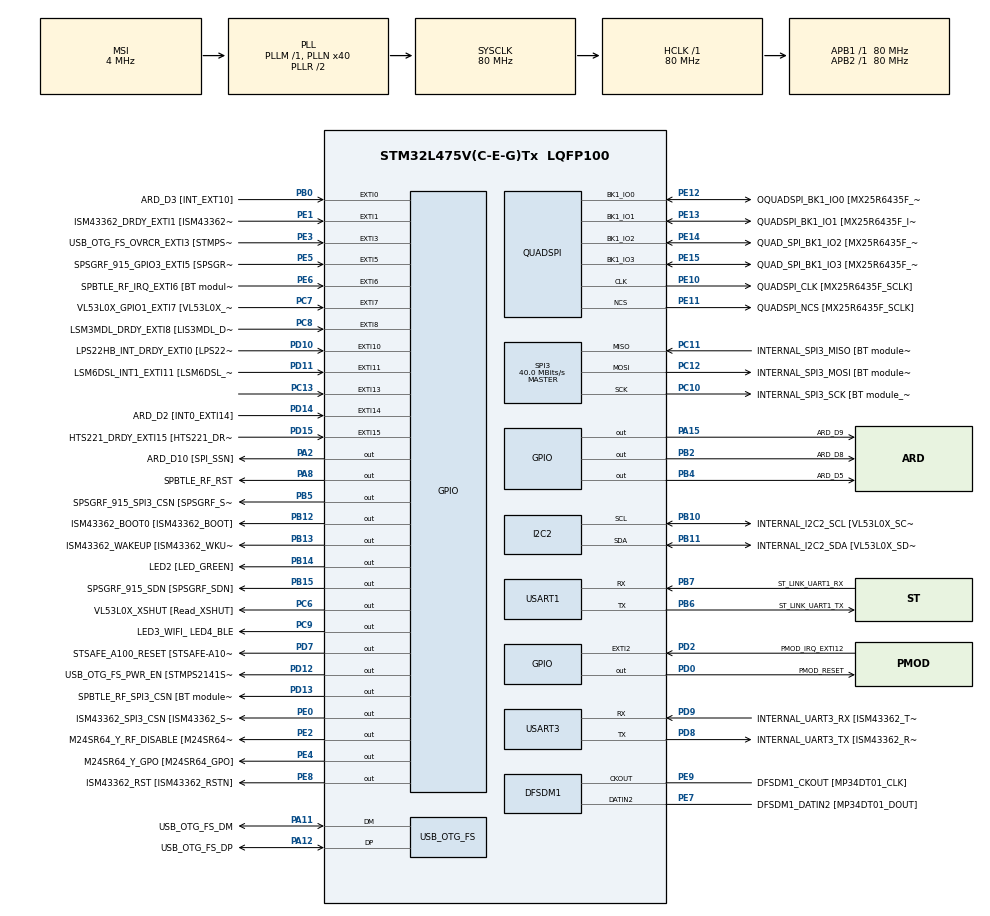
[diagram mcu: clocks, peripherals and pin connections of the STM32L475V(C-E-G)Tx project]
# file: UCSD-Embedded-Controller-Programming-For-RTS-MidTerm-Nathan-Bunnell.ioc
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PD12.GPIO_Label=USB_OTG_FS_PWR_EN [STMPS2141STR_EN]
SPI3.Direction=SPI_DIRECTION_2LINES
SPI3.VirtualType=VM_MASTER
QUADSPI.ClockPrescaler=2
PB10.Mode=I2C
PC12.Signal=SPI3_MOSI
PB14.GPIO_Label=LED2 [LED_GREEN]
PC6.GPIO_Label=VL53L0X_XSHUT [Read_XSHUT]
PA6.GPIO_Label=ARD_D12 [SPI1_MISO]
PB6.GPIO_Label=ST_LINK_UART1_TX
PA15\ (JTDI).Signal=GPIO_Output
PC15-OSC32_OUT\ (PC15).Mode=LSE-External-Oscillator
PB13.Signal=GPIO_Output
PD6.GPIO_Label=PMOD_UART2_RX
PE6.GPIO_Label=SPBTLE_RF_IRQ_EXTI6 [BT module_SPI_IRQ]
RCC.SYSCLKSource=RCC_SYSCLKSOURCE_PLLCLK
PC14-OSC32_IN\ (PC14).Mode=LSE-External-Oscillator
SH.ADCx_IN16.0=ADC1_IN16
USART3.VirtualMode-Asynchronous=VM_ASYNC
PA14\ (JTCK-SWCLK).Signal=SYS_JTCK-SWCLK
PD4.Signal=USART2_RTS
RCC.APB2TimFreq_Value=80000000
PB6.Signal=USART1_TX
PC7.Signal=GPXTI7
PB6.Mode=Asynchronous
PC3.Signal=ADCx_IN4
PD0.Signal=GPIO_Output
PD8.Signal=USART3_TX
PE5.Signal=GPXTI5
PE1.Signal=GPXTI1
QUADSPI.FlashSize=23
NVIC.EXTI15_10_IRQn=true\:0\:0\:false\:false\:true\:true\:true
PB2.Signal=GPIO_Output
PD1.GPIO_Label=PMOD_SPI2_SCK
PB12.GPIO_Label=ISM43362_BOOT0 [ISM43362_BOOT]
PC4.GPIO_Label=ARD_A1 [ADC]
PE9.Signal=S_CKOUTDFSDM1
PB1.GPIO_Label=ARD_D6 [ADC1_IN6]
PE4.GPIO_Label=M24SR64_Y_GPO [M24SR64_GPO]
PE2.Signal=GPIO_Output
PA8.Signal=GPIO_Output
PE13.Mode=Single Bank
PE10.Signal=QUADSPI_CLK
PA0.Signal=UART4_TX
Mcu.Package=LQFP100
PB9.Signal=I2C1_SDA
PB1.Signal=ADCx_IN16
SPI3.Mode=SPI_MODE_MASTER
SH.ADCx_IN14.0=ADC1_IN14
PD12.Signal=GPIO_Output
PA10.Signal=USB_OTG_FS_ID
PE12.GPIO_Label=OQUADSPI_BK1_IO0 [MX25R6435F_IO0]
PC11.Mode=Full_Duplex_Master
SH.ADCx_IN9.0=ADC1_IN9
RCC.APB1TimFreq_Value=80000000
PA13\ (JTMS-SWDIO).Signal=SYS_JTMS-SWDIO
NVIC.USART1_IRQn=true\:0\:0\:false\:false\:true\:true\:true
PE10.GPIO_Label=QUADSPI_CLK [MX25R6435F_SCLK]
PA4.GPIO_Label=ARD_D7
PD15.Signal=GPXTI15
PE12.Mode=Single Bank
PD9.GPIO_Label=INTERNAL_UART3_RX [ISM43362_TX]
PA9.GPIO_Label=USB_OTG_FS_VBUS [STMPS2141STR_OUT]
PC13.Signal=GPXTI13
PD3.Signal=USART2_CTS
PC6.Signal=GPIO_Output
PE10.Mode=Single Bank
PC2.Signal=ADCx_IN3
PB11.GPIO_Label=INTERNAL_I2C2_SDA [VL53L0X_SDA]
PD7.Signal=GPIO_Output
PD1.Signal=SPI2_SCK
PA11.GPIO_Label=USB_OTG_FS_DM
PC0.Signal=ADCx_IN1
PD10.Signal=GPXTI10
PB8.GPIO_Label=ARD_D15 [I2C1_SCL]
PA8.GPIO_Label=SPBTLE_RF_RST
PB11.Mode=I2C
PE8.GPIO_Label=ISM43362_RST [ISM43362_RSTN]
PA9.Signal=USB_OTG_FS_VBUS
PE9.GPIO_Label=DFSDM1_CKOUT [MP34DT01_CLK]
PD8.Mode=Asynchronous
PB10.Signal=I2C2_SCL
PB14.Signal=GPIO_Output
PA5.Signal=SPI1_SCK
PC12.Mode=Full_Duplex_Master
PE1.GPIO_Label=ISM43362_DRDY_EXTI1 [ISM43362_DATARDY]
PE14.Signal=QUADSPI_BK1_IO2
PE15.Signal=QUADSPI_BK1_IO3
PB15.GPIO_Label=SPSGRF_915_SDN [SPSGRF_SDN]
PE8.Signal=GPIO_Output
PA1.GPIO_Label=ARD_D0 [UART4_RX]
SH.ADCx_IN4.0=ADC1_IN4
QUADSPI.FifoThreshold=4
PC7.GPIO_Label=VL53L0X_GPIO1_EXTI7 [VL53L0X_GPIO1]
PA13\ (JTMS-SWDIO).Mode=Serial_Wire
PA4.Signal=ADCx_IN9
PB5.Signal=GPIO_Output
PE13.GPIO_Label=QUADSPI_BK1_IO1 [MX25R6435F_IO1]
PA5.GPIO_Label=ARD_D13 [SPI1_SCK]
PD11.Signal=GPXTI11
PE5.GPIO_Label=SPSGRF_915_GPIO3_EXTI5 [SPSGRF_GPIO_3]
PC12.GPIO_Label=INTERNAL_SPI3_MOSI [BT module_SPI_MOSI] [ISM43362_MOSI]
PA11.Signal=USB_OTG_FS_DM
ProjectManager.HeapSize=0x200
NVIC.PriorityGroup=NVIC_PRIORITYGROUP_4
PE3.Signal=GPXTI3
PC3.GPIO_Label=ARD_A2 [ADC]
PB4\ (NJTRST).GPIO_Label=ARD_D5
PD2.Signal=GPXTI2
PB0.Signal=GPXTI0
PC1.Signal=ADCx_IN2
PD2.GPIO_Label=PMOD_IRQ_EXTI12
PE15.Mode=Single Bank
Mcu.Family=STM32L4
RCC.CortexFreq_Value=80000000
PE11.GPIO_Label=QUADSPI_NCS [MX25R6435F_SCLK]
SH.ADCx_IN2.0=ADC1_IN2
PC10.Signal=SPI3_SCK
I2C2.Timing=0x10909CEC
PA0.GPIO_Label=ARD_D1 [UART4_TX]
PC0.GPIO_Label=ARD_A5 [ADC]
PD0.GPIO_Label=PMOD_RESET
PA11.Mode=Device_Only
PB0.GPIO_Label=ARD_D3 [INT_EXT10]
PB13.GPIO_Label=ISM43362_WAKEUP [ISM43362_WKUP]
PB11.Signal=I2C2_SDA
PB15.Signal=GPIO_Output
PD9.Mode=Asynchronous
ProjectManager.StackSize=0x400
PB3\ (JTDO-TRACESWO).Signal=SYS_JTDO-SWO
PD13.Signal=GPIO_Output
PA12.Signal=USB_OTG_FS_DP
PE11.Mode=Single Bank
PD11.GPIO_Label=LSM6DSL_INT1_EXTI11 [LSM6DSL_INT1]
RCC.HCLKFreq_Value=80000000
SH.ADCx_IN3.0=ADC1_IN3
PB5.PinState=GPIO_PIN_SET
RCC.AHBFreq_Value=80000000
RCC.HSE_VALUE=8000000
PE13.Signal=QUADSPI_BK1_IO1
PC11.GPIO_Label=INTERNAL_SPI3_MISO [BT module_SPI_MISO] [ISM43362_MISO]
PA10.GPIO_Label=USB_OTG_FS_ID
PB7.Signal=USART1_RX
PE4.Signal=GPIO_Output
QUADSPI.SampleShifting=QSPI_SAMPLE_SHIFTING_HALFCYCLE
PD7.GPIO_Label=STSAFE_A100_RESET [STSAFE-A100_RESET]
PB7.GPIO_Label=ST_LINK_UART1_RX
PD13.GPIO_Label=SPBTLE_RF_SPI3_CSN [BT module_SPI_CS]
PA6.Signal=SPI1_MISO
PD5.GPIO_Label=PMOD_UART2_TX
PA2.GPIO_Label=ARD_D10 [SPI_SSN]
USB_OTG_FS.VirtualMode=Device_Only
PE0.GPIO_Label=ISM43362_SPI3_CSN [ISM43362_SSN]
SH.ADCx_IN1.0=ADC1_IN1
PB5.GPIO_Label=SPSGRF_915_SPI3_CSN [SPSGRF_SPI_CS]
PC5.Signal=ADCx_IN14
PD3.GPIO_Label=PMOD_UART2_CTS
PE7.Signal=S_DATAIN2DFSDM1
PD6.Signal=USART2_RX
PE2.GPIO_Label=M24SR64_Y_RF_DISABLE [M24SR64_RFDIS]
PC2.GPIO_Label=ARD_A3 [ADC]
RCC.PLLSAI1N=24
PA3.Signal=S_TIM2_CH4
RCC.MSI_VALUE=4000000
PA14\ (JTCK-SWCLK).Mode=Serial_Wire
SH.ADCx_IN13.0=ADC1_IN13
PD15.GPIO_Label=HTS221_DRDY_EXTI15 [HTS221_DRDY]
PB9.GPIO_Label=ARD_D14 [I2C1_SDA]
PC10.GPIO_Label=INTERNAL_SPI3_SCK [BT module_SPI_SCLK] [ISM43362_SCK]
PC9.GPIO_Label=LED3_WIFI_ LED4_BLE
PC11.Signal=SPI3_MISO
PC8.Signal=GPXTI8
PC4.Signal=ADCx_IN13
PC10.Mode=Full_Duplex_Master
SH.S_DATAIN2DFSDM1.0=DFSDM1_DATIN2,PDM_SPI_Input_from_ch12_and_Internal_Clock
PE14.GPIO_Label=QUAD_SPI_BK1_IO2 [MX25R6435F_IO2]
PC15-OSC32_OUT\ (PC15).Signal=RCC_OSC32_OUT
PD9.Signal=USART3_RX
PD5.Signal=USART2_TX
PA14\ (JTCK-SWCLK).GPIO_Label=SYS_JTCK_SWCLK
PB3\ (JTDO-TRACESWO).GPIO_Label=SYS_JTD0_SWO
PA12.GPIO_Label=USB_OTG_FS_DP
PD8.GPIO_Label=INTERNAL_UART3_TX [ISM43362_RX]
PC8.GPIO_Label=LSM3MDL_DRDY_EXTI8 [LIS3MDL_DRDY]
USART1.VirtualMode-Asynchronous=VM_ASYNC
PE0.PinState=GPIO_PIN_SET
PE15.GPIO_Label=QUAD_SPI_BK1_IO3 [MX25R6435F_IO3]
ProjectManager.TargetToolchain=STM32CubeIDE
PB10.GPIO_Label=INTERNAL_I2C2_SCL [VL53L0X_SCL]
RCC.USBFreq_Value=48000000
PD10.GPIO_Label=LPS22HB_INT_DRDY_EXTI0 [LPS22HB_INT_DRDY] 
PE11.Signal=QUADSPI_NCS
PA1.Signal=UART4_RX
board=B-L475E-IOT01A1
RCC.VCOOutputFreq_Value=160000000
RCC.APB2Freq_Value=80000000
SPI3.CalculateBaudRate=40.0 MBits/s
PA13\ (JTMS-SWDIO).GPIO_Label=SYS_JTMS_SWDIO
PD4.GPIO_Label=PMOD_UART2_RTS
PE14.Mode=Single Bank
SH.S_CKOUTDFSDM1.0=DFSDM1_CKOUT,CKOUT
SH.S_CKOUTDFSDM1.1=DFSDM1_CKOUT,PDM_SPI_Input_from_ch12_and_Internal_Clock
RCC.ADCFreq_Value=48000000
PC1.GPIO_Label=ARD_A4 [ADC]
PD14.GPIO_Label=ARD_D2 [INT0_EXTI14]
PE6.Signal=GPXTI6
PA15\ (JTDI).GPIO_Label=ARD_D9
Mcu.Name=STM32L475V(C-E-G)Tx
PE0.Signal=GPIO_Output
PE7.GPIO_Label=DFSDM1_DATIN2 [MP34DT01_DOUT]
PE12.Signal=QUADSPI_BK1_IO0
PA2.Signal=GPIO_Output
PD14.Signal=GPXTI14
RCC.SYSCLKFreq_VALUE=80000000
PA7.GPIO_Label=ARD_D11 [SPI1_MOSI]
PA12.Mode=Device_Only
PC5.GPIO_Label=ARD_A0 [ADC]
PC14-OSC32_IN\ (PC14).Signal=RCC_OSC32_IN
PB7.Mode=Asynchronous
NVIC.EXTI9_5_IRQn=true\:0\:0\:false\:false\:true\:true\:true
PB2.GPIO_Label=ARD_D8
SH.S_TIM2_CH4.0=TIM2_CH4
RCC.HSI_VALUE=16000000
RCC.PLLN=40
PB8.Signal=I2C1_SCL
PE3.GPIO_Label=USB_OTG_FS_OVRCR_EXTI3 [STMPS2141STR_FAULT]
PC9.Signal=GPIO_Output
PD13.PinState=GPIO_PIN_SET
RCC.APB1Freq_Value=80000000
PB12.Signal=GPIO_Output
PA3.GPIO_Label=ARD_D4
PA7.Signal=SPI1_MOSI
PB4\ (NJTRST).Signal=GPIO_Output

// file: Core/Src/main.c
/* USER CODE BEGIN Header */
/**
  ******************************************************************************
  * @file           : main.c
  * @brief          : Main program body
  ******************************************************************************
  * @attention
  *
  * <h2><center>&copy; Copyright (c) 2021 STMicroelectronics.
  * All rights reserved.</center></h2>
  *
  * This software component is licensed by ST under BSD 3-Clause license,
  * the "License"; You may not use this file except in compliance with the
  * License. You may obtain a copy of the License at:
  *                        opensource.org/licenses/BSD-3-Clause
  *
  ******************************************************************************
  */
/* USER CODE END Header */
#include "main.h"

/* USER CODE BEGIN Includes */
#include <stdio.h>
#include <string.h>
#include <stdbool.h>

/* USER CODE END Includes */

DFSDM_Channel_HandleTypeDef hdfsdm1_channel1;

I2C_HandleTypeDef hi2c2;

QSPI_HandleTypeDef hqspi;

SPI_HandleTypeDef hspi3;

UART_HandleTypeDef huart1;
UART_HandleTypeDef huart3;

PCD_HandleTypeDef hpcd_USB_OTG_FS;

void SystemClock_Config(void);
static void MX_GPIO_Init(void);
static void MX_DFSDM1_Init(void);
static void MX_I2C2_Init(void);
static void MX_QUADSPI_Init(void);
static void MX_SPI3_Init(void);
static void MX_USART1_UART_Init(void);
static void MX_USART3_UART_Init(void);
static void MX_USB_OTG_FS_PCD_Init(void);
/* USER CODE BEGIN PFP */

void logMsg(UART_HandleTypeDef *huart, char *_out);
char logGetMsg(UART_HandleTypeDef *huart);
extern uint32_t sumOfSquares(uint8_t number);
uint32_t numOnes(uint32_t number);
void myDisableIntr(uint32_t IRQn);
void myEnableIntr(uint32_t IRQn);
void myDisableAllIntr(void);

/* USER CODE END PFP */

/* USER CODE BEGIN 0 */

// Define a pair of interrupt-complete status flags
static bool txInterruptComplete = 0;
static bool rxInterruptComplete = 0;

// Define the IT callback functions
void HAL_UART_TxCpltCallback(UART_HandleTypeDef *huart)
{
	// Set our complete flag
	txInterruptComplete = 1;
}

void HAL_UART_RxCpltCallback(UART_HandleTypeDef *huart)
{
	// Set our complete flag
	rxInterruptComplete = 1;
}

// Implement the callback method for HAL_GPIO_EXTI_IRGHandler()
void HAL_GPIO_EXTI_Callback(uint16_t GPIO_Pin)
{
	if (GPIO_Pin == GPIO_PIN_13)
	{
		HAL_GPIO_TogglePin(LED3_WIFI__LED4_BLE_GPIO_Port, LED3_WIFI__LED4_BLE_Pin);
		//logMsg(&huart1, "Blue button pressed");		// Using interrupt method would cause system to hang?
		char* statusMsg = "Blue button pressed\n";
		HAL_UART_Transmit(&huart1, (uint8_t*) statusMsg, strlen(statusMsg), 1000);
	}
}

// logMsg function prints a string, _out, to the console over the specified UART
void logMsg(UART_HandleTypeDef *huart, char *_out)
{
	// Clear the complete flag
	txInterruptComplete = 0;

	char buffer[100] = {0};		// Large char buffer for string printing
    snprintf(buffer, sizeof(buffer), "%s\n", _out);
    HAL_UART_Transmit_IT(&huart1, (uint8_t*) buffer, strlen(buffer));

    // Loiter until the IT complete flag is set
	while (!txInterruptComplete)
	{
		HAL_Delay(10);
	}
}

// logMsg function returns a char, c, over the specified UART
char logGetMsg(UART_HandleTypeDef *huart)
{
	// Clear the complete flag
	rxInterruptComplete = 0;

  char c = '\0';				// Set default return value to NULL
  HAL_UART_Receive_IT(&huart1, (uint8_t*) &c, sizeof(c));

  // Loiter until the IT complete flag is set
	while (!rxInterruptComplete)
	{
		HAL_Delay(10);
	}

	return c;
}

// Implement numOnes() with inline assembly to calculate and return
//   the numbers of ones in a binary representation of a given number
uint32_t numOnes(uint32_t number)
{
  // Algorithm:
  //  Count from bit 31 down to zero. At each bit, bitmask input number w/ bit[x] = 1.
  //  If the compared result equals 0 (ie 1:1 per bit), increment a counter register.
  //  Return that count when bit 0 of the position counter has been reached

  asm volatile (
    "MOV R0, R0 \n\t"             // Placeholder line to track register usage. R0 is the input number to count 1's from
    "LDR R1, =0 \n\t"             // R1 will be the accrual counter, holding the eventual return value that is placed in R0
    "LDR R2, =31 \n\t"            // R2 will hold the position counter, starting at 31 down to 0
    "LDR R3, =0x80000000 \n\t"    // R3 will be the bit mask, shifted right by one every iteration until R2 equals 0
    "LDR R4, =0 \n\t"             // R4 will store the result of the mask operation to test against #0. Clear it at this step

    // Compare R0 to R3, if zero flag is set, increment R1 by 1. Otherwise jump on to the decrement step
"loop: \n\t"
    "AND R4, R0, R3 \n\t"
    "CMP R4, #0 \n\t"
    "BEQ decrement \n\t"
    "ADD R1, #1 \n\t"

    // Decrement R2, test if equal to zero. If so, branch to the function end and perform final shift and test before returning
"decrement: \n\t"
    "SUB R2, R2, #1 \n\t"
    "CMP R2, #0 \n\t"
    "BEQ final \n\t"

    // If not, shift R3 right by 1 and branch back to the start of the loop
    "LSR R3, R3, #1 \n\t"
    "B loop\n\t"

    // Final test and return from function call
"final: \n\t"
	"LSR R3, R3, #1 \n\t"
	"AND R4, R0, R3 \n\t"
	"CMP R4, #0 \n\t"
	"BEQ return \n\t"
	"ADD R1, #1 \n\t"

"return: \n\t"
	"MOV R0, R1 \n\t"
    "BX lr \n\t"
  );

}

/*
 * 	Addresses for ISER and ICER taken from:
 *
 * 		https://developer.arm.com/documentation/ddi0439/b/Nested-Vectored-Interrupt-Controller/NVIC-programmers-model
 *
 *											Table 6.1. NVIC registers
 *
 *		0xE000E100 - 0xE000E11C	NVIC_ISER0 - NVIC_ISER7	RW	0x00000000	Interrupt Set-Enable Registers
 *		0xE000E180 - 0E000xE19C	NVIC_ICER0 - NVIC_ICER7	RW	0x00000000	Interrupt Clear-Enable Registers
 *
 */

// Define prototype to disable a given interrupt
void myDisableIntr(uint32_t IRQn)
{
	/* Example CMSIS implementation
	 *
	 *		uint32_t wordOffset = (IRQn >> 5);			// IRQn / 32
	 *		uint32_t bitOffset = (IRQn & 0x1f);			// IRQn mod 32
	 *		NVIC->ICER[wordOffset] = (1 << bitOffset);	// Clear INT
	 */

	asm volatile(
		"LSR R1, R0, #5 \n\t"			// R1 = wordOffset
		"LSL R1, R1, #2 \n\t"			// Multiply offset by 4 bytes (left shift by 2)
										//  to get correct target address
		"AND R2, R0, #0x1f \n\t"		// R2 = bitOffset
		"LDR R0, =1 \n\t"				// Set up for a left shift by 1
		"LSL R2, R0, R2 \n\t"			// Shift by bitOffset into R2 for bit offset (1 << bitOffset)
		"LDR R3, =0xe000e180 \n\t"		// R3 = address of NVIC_ICER0

		"ADD R3, R3, R1 \n\t"			// Move R3 by calculated word offset to target address
		"STR R2, [R3] \n\t"				// Store new value into address pointed to by R3

		"BX lr \n\t"
	);

}

void myEnableIntr(uint32_t IRQn)
{
	/* Example CMSIS implementation
	 *
	 *		uint32_t wordOffset = (IRQn >> 5);			// IRQn / 32
	 *		uint32_t bitOffset = (IRQn & 0x1f);			// IRQn mod 32
	 *		NVIC->ISER[wordOffset] = (1 << bitOffset);	// Enable INT
	 */

	asm volatile(
		"LSR R1, R0, #5 \n\t"			// R1 = wordOffset
		"LSL R1, R1, #2 \n\t"			// Multiply offset by 4 bytes (left shift by 2)
										//  to get correct target address
		"AND R2, R0, #0x1f \n\t"		// R2 = bitOffset
		"LDR R0, =1 \n\t"				// Set up for a left shift by 1
		"LSL R2, R0, R2 \n\t"			// Shift by bitOffset into R2 for bit offset (1 << bitOffset)
		"LDR R3, =0xe000e100 \n\t"		// R3 = address of NVIC_ISER0

		"ADD R3, R3, R1 \n\t"			// Move R3 by calculated word offset to target address
		"STR R2, [R3] \n\t"				// Store new value into address pointed to by R3

		"BX lr \n\t"
	);

}

// Implement myDisableAllIntr() to disable all interrupts
void myDisableAllIntr(void)
{
  // Use instruction CPD with effect options of ID for "Interrupt Disable" and
  //   iflag option i to specify IRQ interrupts
  asm(
    "CPSID i \n\t"
    "BX lr \n\t"
  );
}

/* USER CODE END 0 */

int main(void)
{

  /* MCU Configuration--------------------------------------------------------*/

  /* Reset of all peripherals, Initializes the Flash interface and the Systick. */
  HAL_Init();

  /* Configure the system clock */
  SystemClock_Config();

  /* Initialize all configured peripherals */
  MX_GPIO_Init();
  MX_DFSDM1_Init();
  MX_I2C2_Init();
  MX_QUADSPI_Init();
  MX_SPI3_Init();
  MX_USART1_UART_Init();
  MX_USART3_UART_Init();
  MX_USB_OTG_FS_PCD_Init();
  /* USER CODE BEGIN 2 */

  // Header info with instructions for user at console
  logMsg(&huart1, "Welcome to Embedded controller programming");
  logMsg(&huart1, " - Enter g for toggling Green LED");
  logMsg(&huart1, " - Enter b for toggling Blue LED");
  logMsg(&huart1, " - Enter v to find the sum of squares of a number");
  logMsg(&huart1, " - Enter n to find number of 1’s");
  logMsg(&huart1, " - Enter d to disable a interrupt");
  logMsg(&huart1, " - Enter e to enable the interrupt");
  logMsg(&huart1, " - Enter a to disable all interrupts");

  /* USER CODE END 2 */

  /* Infinite loop */
  while (1)
  {

    /* USER CODE BEGIN 3 */

    // Define an input char with default value of NULL
    char input = '\0';
    input = logGetMsg(&huart1);

    // Evaluate input char and execute methods associated with command
    switch(input)
    {
        // Print received char, toggle green LED
        case ('g'):
        {
            logMsg(&huart1, "g");
            HAL_GPIO_TogglePin(LED2_GPIO_Port, LED2_Pin);
            break;
        }

        // Print received char, toggle blue LED
        case ('b'):
        {
            logMsg(&huart1, "b");
            HAL_GPIO_TogglePin(LED3_WIFI__LED4_BLE_GPIO_Port, LED3_WIFI__LED4_BLE_Pin);
            break;
        }

        case ('v'):
        {
            logMsg(&huart1, "v");

            // Implement sumOfSquares method in mySquareSum.s
            uint32_t sum = sumOfSquares(3);   	// Use fixed value w/ known result, 3 should be 14
			char buffer[50] = {0};             			// Output buffer
			snprintf(buffer, sizeof(buffer), "Sum of squares for 3 is %lu", sum);
			logMsg(&huart1, buffer);

            break;
        }

        case ('n'):
        {
            logMsg(&huart1, "n");

            // Implement code using function numOnes()
            uint32_t numberOfOnes = numOnes(7);   // Use fixed value w/ known result, 7 should be 3 (0b111)
            char buffer[50];             // Output buffer
            snprintf(buffer, sizeof(buffer), "Number of ones in 7 is %lu", numberOfOnes);
            logMsg(&huart1, buffer);

            break;
        }

        case ('d'):
        {
            logMsg(&huart1, "d");

            // Implement code to disable a given interrupt, blue switch on GPIO_EXTI13 in this case
            uint32_t IRQn = 40;
            myDisableIntr(IRQn);

            logMsg(&huart1, "GPIO_EXTI13 disabled");    // Confirm thats the correct EXTI#

            break;
        }

        case ('e'):
        {
            logMsg(&huart1, "e");

            // Implement code to enable a given interrupt, blue switch on GPIO_EXTI13 in this case
            uint32_t IRQn = 40;
            myEnableIntr(IRQn);

            logMsg(&huart1, "GPIO_EXTI13 enabled");

            break;
        }

        case ('a'):
        {
            logMsg(&huart1, "a");

            // Implement code to disable all interrupts using function myDisableAllIntr()
            myDisableAllIntr();

            break;
        }

        // Default case. Print error message
        default:
        {
            logMsg(&huart1, "Unknown character received!\n");
            break;
        }
    }
  }

  /* USER CODE END 3 */
}

void SystemClock_Config(void)
{
  RCC_OscInitTypeDef RCC_OscInitStruct = {0};
  RCC_ClkInitTypeDef RCC_ClkInitStruct = {0};
  RCC_PeriphCLKInitTypeDef PeriphClkInit = {0};

  /** Configure LSE Drive Capability
  */
  HAL_PWR_EnableBkUpAccess();
  __HAL_RCC_LSEDRIVE_CONFIG(RCC_LSEDRIVE_LOW);
  /** Initializes the RCC Oscillators according to the specified parameters
  * in the RCC_OscInitTypeDef structure.
  */
  RCC_OscInitStruct.OscillatorType = RCC_OSCILLATORTYPE_LSE|RCC_OSCILLATORTYPE_MSI;
  RCC_OscInitStruct.LSEState = RCC_LSE_ON;
  RCC_OscInitStruct.MSIState = RCC_MSI_ON;
  RCC_OscInitStruct.MSICalibrationValue = 0;
  RCC_OscInitStruct.MSIClockRange = RCC_MSIRANGE_6;
  RCC_OscInitStruct.PLL.PLLState = RCC_PLL_ON;
  RCC_OscInitStruct.PLL.PLLSource = RCC_PLLSOURCE_MSI;
  RCC_OscInitStruct.PLL.PLLM = 1;
  RCC_OscInitStruct.PLL.PLLN = 40;
  RCC_OscInitStruct.PLL.PLLP = RCC_PLLP_DIV7;
  RCC_OscInitStruct.PLL.PLLQ = RCC_PLLQ_DIV2;
  RCC_OscInitStruct.PLL.PLLR = RCC_PLLR_DIV2;
  if (HAL_RCC_OscConfig(&RCC_OscInitStruct) != HAL_OK)
  {
    Error_Handler();
  }
  /** Initializes the CPU, AHB and APB buses clocks
  */
  RCC_ClkInitStruct.ClockType = RCC_CLOCKTYPE_HCLK|RCC_CLOCKTYPE_SYSCLK
                              |RCC_CLOCKTYPE_PCLK1|RCC_CLOCKTYPE_PCLK2;
  RCC_ClkInitStruct.SYSCLKSource = RCC_SYSCLKSOURCE_PLLCLK;
  RCC_ClkInitStruct.AHBCLKDivider = RCC_SYSCLK_DIV1;
  RCC_ClkInitStruct.APB1CLKDivider = RCC_HCLK_DIV1;
  RCC_ClkInitStruct.APB2CLKDivider = RCC_HCLK_DIV1;

  if (HAL_RCC_ClockConfig(&RCC_ClkInitStruct, FLASH_LATENCY_4) != HAL_OK)
  {
    Error_Handler();
  }
  PeriphClkInit.PeriphClockSelection = RCC_PERIPHCLK_USART1|RCC_PERIPHCLK_USART3
                              |RCC_PERIPHCLK_I2C2|RCC_PERIPHCLK_DFSDM1
                              |RCC_PERIPHCLK_USB;
  PeriphClkInit.Usart1ClockSelection = RCC_USART1CLKSOURCE_PCLK2;
  PeriphClkInit.Usart3ClockSelection = RCC_USART3CLKSOURCE_PCLK1;
  PeriphClkInit.I2c2ClockSelection = RCC_I2C2CLKSOURCE_PCLK1;
  PeriphClkInit.Dfsdm1ClockSelection = RCC_DFSDM1CLKSOURCE_PCLK;
  PeriphClkInit.UsbClockSelection = RCC_USBCLKSOURCE_PLLSAI1;
  PeriphClkInit.PLLSAI1.PLLSAI1Source = RCC_PLLSOURCE_MSI;
  PeriphClkInit.PLLSAI1.PLLSAI1M = 1;
  PeriphClkInit.PLLSAI1.PLLSAI1N = 24;
  PeriphClkInit.PLLSAI1.PLLSAI1P = RCC_PLLP_DIV7;
  PeriphClkInit.PLLSAI1.PLLSAI1Q = RCC_PLLQ_DIV2;
  PeriphClkInit.PLLSAI1.PLLSAI1R = RCC_PLLR_DIV2;
  PeriphClkInit.PLLSAI1.PLLSAI1ClockOut = RCC_PLLSAI1_48M2CLK;
  if (HAL_RCCEx_PeriphCLKConfig(&PeriphClkInit) != HAL_OK)
  {
    Error_Handler();
  }
  /** Configure the main internal regulator output voltage
  */
  if (HAL_PWREx_ControlVoltageScaling(PWR_REGULATOR_VOLTAGE_SCALE1) != HAL_OK)
  {
    Error_Handler();
  }
  /** Enable MSI Auto calibration
  */
  HAL_RCCEx_EnableMSIPLLMode();
}

static void MX_DFSDM1_Init(void)
{

  hdfsdm1_channel1.Instance = DFSDM1_Channel1;
  hdfsdm1_channel1.Init.OutputClock.Activation = ENABLE;
  hdfsdm1_channel1.Init.OutputClock.Selection = DFSDM_CHANNEL_OUTPUT_CLOCK_SYSTEM;
  hdfsdm1_channel1.Init.OutputClock.Divider = 2;
  hdfsdm1_channel1.Init.Input.Multiplexer = DFSDM_CHANNEL_EXTERNAL_INPUTS;
  hdfsdm1_channel1.Init.Input.DataPacking = DFSDM_CHANNEL_STANDARD_MODE;
  hdfsdm1_channel1.Init.Input.Pins = DFSDM_CHANNEL_FOLLOWING_CHANNEL_PINS;
  hdfsdm1_channel1.Init.SerialInterface.Type = DFSDM_CHANNEL_SPI_RISING;
  hdfsdm1_channel1.Init.SerialInterface.SpiClock = DFSDM_CHANNEL_SPI_CLOCK_INTERNAL;
  hdfsdm1_channel1.Init.Awd.FilterOrder = DFSDM_CHANNEL_FASTSINC_ORDER;
  hdfsdm1_channel1.Init.Awd.Oversampling = 1;
  hdfsdm1_channel1.Init.Offset = 0;
  hdfsdm1_channel1.Init.RightBitShift = 0x00;
  if (HAL_DFSDM_ChannelInit(&hdfsdm1_channel1) != HAL_OK)
  {
    Error_Handler();
  }

}

static void MX_I2C2_Init(void)
{

  hi2c2.Instance = I2C2;
  hi2c2.Init.Timing = 0x10909CEC;
  hi2c2.Init.OwnAddress1 = 0;
  hi2c2.Init.AddressingMode = I2C_ADDRESSINGMODE_7BIT;
  hi2c2.Init.DualAddressMode = I2C_DUALADDRESS_DISABLE;
  hi2c2.Init.OwnAddress2 = 0;
  hi2c2.Init.OwnAddress2Masks = I2C_OA2_NOMASK;
  hi2c2.Init.GeneralCallMode = I2C_GENERALCALL_DISABLE;
  hi2c2.Init.NoStretchMode = I2C_NOSTRETCH_DISABLE;
  if (HAL_I2C_Init(&hi2c2) != HAL_OK)
  {
    Error_Handler();
  }
  /** Configure Analogue filter
  */
  if (HAL_I2CEx_ConfigAnalogFilter(&hi2c2, I2C_ANALOGFILTER_ENABLE) != HAL_OK)
  {
    Error_Handler();
  }
  /** Configure Digital filter
  */
  if (HAL_I2CEx_ConfigDigitalFilter(&hi2c2, 0) != HAL_OK)
  {
    Error_Handler();
  }

}

static void MX_QUADSPI_Init(void)
{

  /* QUADSPI parameter configuration*/
  hqspi.Instance = QUADSPI;
  hqspi.Init.ClockPrescaler = 2;
  hqspi.Init.FifoThreshold = 4;
  hqspi.Init.SampleShifting = QSPI_SAMPLE_SHIFTING_HALFCYCLE;
  hqspi.Init.FlashSize = 23;
  hqspi.Init.ChipSelectHighTime = QSPI_CS_HIGH_TIME_1_CYCLE;
  hqspi.Init.ClockMode = QSPI_CLOCK_MODE_0;
  if (HAL_QSPI_Init(&hqspi) != HAL_OK)
  {
    Error_Handler();
  }

}

static void MX_SPI3_Init(void)
{

  /* SPI3 parameter configuration*/
  hspi3.Instance = SPI3;
  hspi3.Init.Mode = SPI_MODE_MASTER;
  hspi3.Init.Direction = SPI_DIRECTION_2LINES;
  hspi3.Init.DataSize = SPI_DATASIZE_4BIT;
  hspi3.Init.CLKPolarity = SPI_POLARITY_LOW;
  hspi3.Init.CLKPhase = SPI_PHASE_1EDGE;
  hspi3.Init.NSS = SPI_NSS_SOFT;
  hspi3.Init.BaudRatePrescaler = SPI_BAUDRATEPRESCALER_2;
  hspi3.Init.FirstBit = SPI_FIRSTBIT_MSB;
  hspi3.Init.TIMode = SPI_TIMODE_DISABLE;
  hspi3.Init.CRCCalculation = SPI_CRCCALCULATION_DISABLE;
  hspi3.Init.CRCPolynomial = 7;
  hspi3.Init.CRCLength = SPI_CRC_LENGTH_DATASIZE;
  hspi3.Init.NSSPMode = SPI_NSS_PULSE_ENABLE;
  if (HAL_SPI_Init(&hspi3) != HAL_OK)
  {
    Error_Handler();
  }

}

static void MX_USART1_UART_Init(void)
{

  huart1.Instance = USART1;
  huart1.Init.BaudRate = 115200;
  huart1.Init.WordLength = UART_WORDLENGTH_8B;
  huart1.Init.StopBits = UART_STOPBITS_1;
  huart1.Init.Parity = UART_PARITY_NONE;
  huart1.Init.Mode = UART_MODE_TX_RX;
  huart1.Init.HwFlowCtl = UART_HWCONTROL_NONE;
  huart1.Init.OverSampling = UART_OVERSAMPLING_16;
  huart1.Init.OneBitSampling = UART_ONE_BIT_SAMPLE_DISABLE;
  huart1.AdvancedInit.AdvFeatureInit = UART_ADVFEATURE_NO_INIT;
  if (HAL_UART_Init(&huart1) != HAL_OK)
  {
    Error_Handler();
  }

}

static void MX_USART3_UART_Init(void)
{

  huart3.Instance = USART3;
  huart3.Init.BaudRate = 115200;
  huart3.Init.WordLength = UART_WORDLENGTH_8B;
  huart3.Init.StopBits = UART_STOPBITS_1;
  huart3.Init.Parity = UART_PARITY_NONE;
  huart3.Init.Mode = UART_MODE_TX_RX;
  huart3.Init.HwFlowCtl = UART_HWCONTROL_NONE;
  huart3.Init.OverSampling = UART_OVERSAMPLING_16;
  huart3.Init.OneBitSampling = UART_ONE_BIT_SAMPLE_DISABLE;
  huart3.AdvancedInit.AdvFeatureInit = UART_ADVFEATURE_NO_INIT;
  if (HAL_UART_Init(&huart3) != HAL_OK)
  {
    Error_Handler();
  }

}

static void MX_USB_OTG_FS_PCD_Init(void)
{

  hpcd_USB_OTG_FS.Instance = USB_OTG_FS;
  hpcd_USB_OTG_FS.Init.dev_endpoints = 6;
  hpcd_USB_OTG_FS.Init.speed = PCD_SPEED_FULL;
  hpcd_USB_OTG_FS.Init.phy_itface = PCD_PHY_EMBEDDED;
  hpcd_USB_OTG_FS.Init.Sof_enable = DISABLE;
  hpcd_USB_OTG_FS.Init.low_power_enable = DISABLE;
  hpcd_USB_OTG_FS.Init.lpm_enable = DISABLE;
  hpcd_USB_OTG_FS.Init.battery_charging_enable = DISABLE;
  hpcd_USB_OTG_FS.Init.use_dedicated_ep1 = DISABLE;
  hpcd_USB_OTG_FS.Init.vbus_sensing_enable = DISABLE;
  if (HAL_PCD_Init(&hpcd_USB_OTG_FS) != HAL_OK)
  {
    Error_Handler();
  }

}

static void MX_GPIO_Init(void)
{
  GPIO_InitTypeDef GPIO_InitStruct = {0};

  /* GPIO Ports Clock Enable */
  __HAL_RCC_GPIOE_CLK_ENABLE();
  __HAL_RCC_GPIOC_CLK_ENABLE();
  __HAL_RCC_GPIOA_CLK_ENABLE();
  __HAL_RCC_GPIOB_CLK_ENABLE();
  __HAL_RCC_GPIOD_CLK_ENABLE();

  /*Configure GPIO pin Output Level */
  HAL_GPIO_WritePin(GPIOE, M24SR64_Y_RF_DISABLE_Pin|M24SR64_Y_GPO_Pin|ISM43362_RST_Pin, GPIO_PIN_RESET);

  /*Configure GPIO pin Output Level */
  HAL_GPIO_WritePin(GPIOA, ARD_D10_Pin|SPBTLE_RF_RST_Pin|ARD_D9_Pin, GPIO_PIN_RESET);

  /*Configure GPIO pin Output Level */
  HAL_GPIO_WritePin(GPIOB, ARD_D8_Pin|ISM43362_BOOT0_Pin|ISM43362_WAKEUP_Pin|LED2_Pin
                          |SPSGRF_915_SDN_Pin|ARD_D5_Pin, GPIO_PIN_RESET);

  /*Configure GPIO pin Output Level */
  HAL_GPIO_WritePin(GPIOD, USB_OTG_FS_PWR_EN_Pin|PMOD_RESET_Pin|STSAFE_A100_RESET_Pin, GPIO_PIN_RESET);

  /*Configure GPIO pin Output Level */
  HAL_GPIO_WritePin(SPBTLE_RF_SPI3_CSN_GPIO_Port, SPBTLE_RF_SPI3_CSN_Pin, GPIO_PIN_SET);

  /*Configure GPIO pin Output Level */
  HAL_GPIO_WritePin(GPIOC, VL53L0X_XSHUT_Pin|LED3_WIFI__LED4_BLE_Pin, GPIO_PIN_RESET);

  /*Configure GPIO pin Output Level */
  HAL_GPIO_WritePin(SPSGRF_915_SPI3_CSN_GPIO_Port, SPSGRF_915_SPI3_CSN_Pin, GPIO_PIN_SET);

  /*Configure GPIO pin Output Level */
  HAL_GPIO_WritePin(ISM43362_SPI3_CSN_GPIO_Port, ISM43362_SPI3_CSN_Pin, GPIO_PIN_SET);

  /*Configure GPIO pins : M24SR64_Y_RF_DISABLE_Pin M24SR64_Y_GPO_Pin ISM43362_RST_Pin ISM43362_SPI3_CSN_Pin */
  GPIO_InitStruct.Pin = M24SR64_Y_RF_DISABLE_Pin|M24SR64_Y_GPO_Pin|ISM43362_RST_Pin|ISM43362_SPI3_CSN_Pin;
  GPIO_InitStruct.Mode = GPIO_MODE_OUTPUT_PP;
  GPIO_InitStruct.Pull = GPIO_NOPULL;
  GPIO_InitStruct.Speed = GPIO_SPEED_FREQ_LOW;
  HAL_GPIO_Init(GPIOE, &GPIO_InitStruct);

  /*Configure GPIO pins : USB_OTG_FS_OVRCR_EXTI3_Pin SPSGRF_915_GPIO3_EXTI5_Pin SPBTLE_RF_IRQ_EXTI6_Pin ISM43362_DRDY_EXTI1_Pin */
  GPIO_InitStruct.Pin = USB_OTG_FS_OVRCR_EXTI3_Pin|SPSGRF_915_GPIO3_EXTI5_Pin|SPBTLE_RF_IRQ_EXTI6_Pin|ISM43362_DRDY_EXTI1_Pin;
  GPIO_InitStruct.Mode = GPIO_MODE_IT_RISING;
  GPIO_InitStruct.Pull = GPIO_NOPULL;
  HAL_GPIO_Init(GPIOE, &GPIO_InitStruct);

  /*Configure GPIO pins : PC13 VL53L0X_GPIO1_EXTI7_Pin LSM3MDL_DRDY_EXTI8_Pin */
  GPIO_InitStruct.Pin = GPIO_PIN_13|VL53L0X_GPIO1_EXTI7_Pin|LSM3MDL_DRDY_EXTI8_Pin;
  GPIO_InitStruct.Mode = GPIO_MODE_IT_RISING;
  GPIO_InitStruct.Pull = GPIO_NOPULL;
  HAL_GPIO_Init(GPIOC, &GPIO_InitStruct);

  /*Configure GPIO pins : ARD_A5_Pin ARD_A4_Pin ARD_A3_Pin ARD_A2_Pin
                           ARD_A1_Pin ARD_A0_Pin */
  GPIO_InitStruct.Pin = ARD_A5_Pin|ARD_A4_Pin|ARD_A3_Pin|ARD_A2_Pin
                          |ARD_A1_Pin|ARD_A0_Pin;
  GPIO_InitStruct.Mode = GPIO_MODE_ANALOG_ADC_CONTROL;
  GPIO_InitStruct.Pull = GPIO_NOPULL;
  HAL_GPIO_Init(GPIOC, &GPIO_InitStruct);

  /*Configure GPIO pins : ARD_D1_Pin ARD_D0_Pin */
  GPIO_InitStruct.Pin = ARD_D1_Pin|ARD_D0_Pin;
  GPIO_InitStruct.Mode = GPIO_MODE_AF_PP;
  GPIO_InitStruct.Pull = GPIO_NOPULL;
  GPIO_InitStruct.Speed = GPIO_SPEED_FREQ_VERY_HIGH;
  GPIO_InitStruct.Alternate = GPIO_AF8_UART4;
  HAL_GPIO_Init(GPIOA, &GPIO_InitStruct);

  /*Configure GPIO pins : ARD_D10_Pin SPBTLE_RF_RST_Pin ARD_D9_Pin */
  GPIO_InitStruct.Pin = ARD_D10_Pin|SPBTLE_RF_RST_Pin|ARD_D9_Pin;
  GPIO_InitStruct.Mode = GPIO_MODE_OUTPUT_PP;
  GPIO_InitStruct.Pull = GPIO_NOPULL;
  GPIO_InitStruct.Speed = GPIO_SPEED_FREQ_LOW;
  HAL_GPIO_Init(GPIOA, &GPIO_InitStruct);

  /*Configure GPIO pin : ARD_D4_Pin */
  GPIO_InitStruct.Pin = ARD_D4_Pin;
  GPIO_InitStruct.Mode = GPIO_MODE_AF_PP;
  GPIO_InitStruct.Pull = GPIO_NOPULL;
  GPIO_InitStruct.Speed = GPIO_SPEED_FREQ_LOW;
  GPIO_InitStruct.Alternate = GPIO_AF1_TIM2;
  HAL_GPIO_Init(ARD_D4_GPIO_Port, &GPIO_InitStruct);

  /*Configure GPIO pin : ARD_D7_Pin */
  GPIO_InitStruct.Pin = ARD_D7_Pin;
  GPIO_InitStruct.Mode = GPIO_MODE_ANALOG_ADC_CONTROL;
  GPIO_InitStruct.Pull = GPIO_NOPULL;
  HAL_GPIO_Init(ARD_D7_GPIO_Port, &GPIO_InitStruct);

  /*Configure GPIO pins : ARD_D13_Pin ARD_D12_Pin ARD_D11_Pin */
  GPIO_InitStruct.Pin = ARD_D13_Pin|ARD_D12_Pin|ARD_D11_Pin;
  GPIO_InitStruct.Mode = GPIO_MODE_AF_PP;
  GPIO_InitStruct.Pull = GPIO_NOPULL;
  GPIO_InitStruct.Speed = GPIO_SPEED_FREQ_VERY_HIGH;
  GPIO_InitStruct.Alternate = GPIO_AF5_SPI1;
  HAL_GPIO_Init(GPIOA, &GPIO_InitStruct);

  /*Configure GPIO pin : ARD_D3_Pin */
  GPIO_InitStruct.Pin = ARD_D3_Pin;
  GPIO_InitStruct.Mode = GPIO_MODE_IT_RISING;
  GPIO_InitStruct.Pull = GPIO_NOPULL;
  HAL_GPIO_Init(ARD_D3_GPIO_Port, &GPIO_InitStruct);

  /*Configure GPIO pin : ARD_D6_Pin */
  GPIO_InitStruct.Pin = ARD_D6_Pin;
  GPIO_InitStruct.Mode = GPIO_MODE_ANALOG_ADC_CONTROL;
  GPIO_InitStruct.Pull = GPIO_NOPULL;
  HAL_GPIO_Init(ARD_D6_GPIO_Port, &GPIO_InitStruct);

  /*Configure GPIO pins : ARD_D8_Pin ISM43362_BOOT0_Pin ISM43362_WAKEUP_Pin LED2_Pin
                           SPSGRF_915_SDN_Pin ARD_D5_Pin SPSGRF_915_SPI3_CSN_Pin */
  GPIO_InitStruct.Pin = ARD_D8_Pin|ISM43362_BOOT0_Pin|ISM43362_WAKEUP_Pin|LED2_Pin
                          |SPSGRF_915_SDN_Pin|ARD_D5_Pin|SPSGRF_915_SPI3_CSN_Pin;
  GPIO_InitStruct.Mode = GPIO_MODE_OUTPUT_PP;
  GPIO_InitStruct.Pull = GPIO_NOPULL;
  GPIO_InitStruct.Speed = GPIO_SPEED_FREQ_LOW;
  HAL_GPIO_Init(GPIOB, &GPIO_InitStruct);

  /*Configure GPIO pins : LPS22HB_INT_DRDY_EXTI0_Pin LSM6DSL_INT1_EXTI11_Pin ARD_D2_Pin HTS221_DRDY_EXTI15_Pin
                           PMOD_IRQ_EXTI12_Pin */
  GPIO_InitStruct.Pin = LPS22HB_INT_DRDY_EXTI0_Pin|LSM6DSL_INT1_EXTI11_Pin|ARD_D2_Pin|HTS221_DRDY_EXTI15_Pin
                          |PMOD_IRQ_EXTI12_Pin;
  GPIO_InitStruct.Mode = GPIO_MODE_IT_RISING;
  GPIO_InitStruct.Pull = GPIO_NOPULL;
  HAL_GPIO_Init(GPIOD, &GPIO_InitStruct);

  /*Configure GPIO pins : USB_OTG_FS_PWR_EN_Pin SPBTLE_RF_SPI3_CSN_Pin PMOD_RESET_Pin STSAFE_A100_RESET_Pin */
  GPIO_InitStruct.Pin = USB_OTG_FS_PWR_EN_Pin|SPBTLE_RF_SPI3_CSN_Pin|PMOD_RESET_Pin|STSAFE_A100_RESET_Pin;
  GPIO_InitStruct.Mode = GPIO_MODE_OUTPUT_PP;
  GPIO_InitStruct.Pull = GPIO_NOPULL;
  GPIO_InitStruct.Speed = GPIO_SPEED_FREQ_LOW;
  HAL_GPIO_Init(GPIOD, &GPIO_InitStruct);

  /*Configure GPIO pins : VL53L0X_XSHUT_Pin LED3_WIFI__LED4_BLE_Pin */
  GPIO_InitStruct.Pin = VL53L0X_XSHUT_Pin|LED3_WIFI__LED4_BLE_Pin;
  GPIO_InitStruct.Mode = GPIO_MODE_OUTPUT_PP;
  GPIO_InitStruct.Pull = GPIO_NOPULL;
  GPIO_InitStruct.Speed = GPIO_SPEED_FREQ_LOW;
  HAL_GPIO_Init(GPIOC, &GPIO_InitStruct);

  /*Configure GPIO pin : PMOD_SPI2_SCK_Pin */
  GPIO_InitStruct.Pin = PMOD_SPI2_SCK_Pin;
  GPIO_InitStruct.Mode = GPIO_MODE_AF_PP;
  GPIO_InitStruct.Pull = GPIO_NOPULL;
  GPIO_InitStruct.Speed = GPIO_SPEED_FREQ_VERY_HIGH;
  GPIO_InitStruct.Alternate = GPIO_AF5_SPI2;
  HAL_GPIO_Init(PMOD_SPI2_SCK_GPIO_Port, &GPIO_InitStruct);

  /*Configure GPIO pins : PMOD_UART2_CTS_Pin PMOD_UART2_RTS_Pin PMOD_UART2_TX_Pin PMOD_UART2_RX_Pin */
  GPIO_InitStruct.Pin = PMOD_UART2_CTS_Pin|PMOD_UART2_RTS_Pin|PMOD_UART2_TX_Pin|PMOD_UART2_RX_Pin;
  GPIO_InitStruct.Mode = GPIO_MODE_AF_PP;
  GPIO_InitStruct.Pull = GPIO_NOPULL;
  GPIO_InitStruct.Speed = GPIO_SPEED_FREQ_VERY_HIGH;
  GPIO_InitStruct.Alternate = GPIO_AF7_USART2;
  HAL_GPIO_Init(GPIOD, &GPIO_InitStruct);

  /*Configure GPIO pins : ARD_D15_Pin ARD_D14_Pin */
  GPIO_InitStruct.Pin = ARD_D15_Pin|ARD_D14_Pin;
  GPIO_InitStruct.Mode = GPIO_MODE_AF_OD;
  GPIO_InitStruct.Pull = GPIO_PULLUP;
  GPIO_InitStruct.Speed = GPIO_SPEED_FREQ_VERY_HIGH;
  GPIO_InitStruct.Alternate = GPIO_AF4_I2C1;
  HAL_GPIO_Init(GPIOB, &GPIO_InitStruct);

  /* EXTI interrupt init*/
  HAL_NVIC_SetPriority(EXTI9_5_IRQn, 0, 0);
  HAL_NVIC_EnableIRQ(EXTI9_5_IRQn);

  HAL_NVIC_SetPriority(EXTI15_10_IRQn, 0, 0);
  HAL_NVIC_EnableIRQ(EXTI15_10_IRQn);

}

void Error_Handler(void)
{
  __disable_irq();
  while (1)
  {
  }
}

/************************ (C) COPYRIGHT STMicroelectronics *****END OF FILE****/
